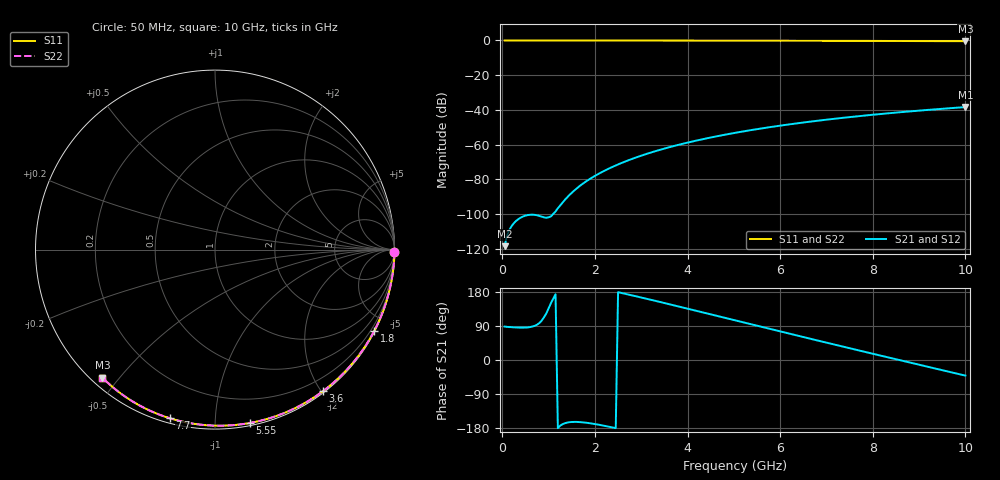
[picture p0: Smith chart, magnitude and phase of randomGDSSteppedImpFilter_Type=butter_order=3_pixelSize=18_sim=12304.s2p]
! freq	dB(S11)	phase(S11)	dB(S12)	phase(S12)
!  dB(S21)	phase(S21)	dB(S22)	phase(S22)
!S-par simulation data
#  GHz  S  DB  R 50
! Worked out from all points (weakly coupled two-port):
!   200 points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, 50 MHz to 10 GHz, reference 50 ohm
!   highest |S21| = -38.41 dB at 10 GHz (marker M1); lowest = -118.6 dB at 50 MHz (marker M2)
!   lowest |S11| = -0.4 dB at 10 GHz (marker M3), VSWR 39.03, Z = 1.54 - j22.6 ohm
!   |S11| at or under -10 dB: nowhere
!   |S22| runs from -0.4 to 0.0 dB; largest |S21 - S12| = 0
!   S11 on the Smith chart (normalised r, x): 50 MHz: open; 1.8 GHz: 0.04, -4.18; 3.6 GHz: 0.02, -2.02; 5.55 GHz: 0.02, -1.22; 7.7 GHz: 0.02, -0.77; 10 GHz: 0.03, -0.45
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0.05  -0.00 -0.8  -118.56 88.3  -118.56 88.3  -0.00 -0.8
0.9  -0.02 -13.6  -101.95 112.7  -101.95 112.7  -0.02 -13.6
1.75  -0.03 -26.2  -82.34 -164.6  -82.34 -164.6  -0.03 -26.2
1.8  -0.03 -26.9  -81.41 -165.3  -81.41 -165.3  -0.03 -26.9
1.85  -0.04 -27.6  -80.52 -166.1  -80.52 -166.1  -0.04 -27.6
1.9  -0.04 -28.4  -79.67 -167.0  -79.67 -167.0  -0.04 -28.4
2.05  -0.04 -30.6  -77.29 -170.0  -77.29 -170.0  -0.04 -30.6
2.25  -0.04 -33.5  -74.50 -174.7  -74.50 -174.7  -0.04 -33.5
2.45  -0.05 -36.4  -72.02 -179.8  -72.02 -179.8  -0.05 -36.4
2.65  -0.05 -39.2  -69.80 174.8  -69.80 174.8  -0.05 -39.2
3  -0.06 -44.2  -66.40 165.0  -66.40 165.0  -0.06 -44.2
3.4  -0.07 -49.8  -63.06 153.3  -63.06 153.3  -0.07 -49.8
3.6  -0.07 -52.6  -61.57 147.4  -61.57 147.4  -0.07 -52.6
4.3  -0.09 -62.2  -57.06 126.5  -57.06 126.5  -0.09 -62.2
5.05  -0.11 -72.1  -53.14 103.9  -53.14 103.9  -0.11 -72.1
5.55  -0.13 -78.6  -50.90 88.9  -50.90 88.9  -0.13 -78.6
6.1  -0.15 -85.6  -48.72 72.5  -48.72 72.5  -0.15 -85.6
6.7  -0.18 -93.0  -46.62 54.6  -46.62 54.6  -0.18 -93.0
7.7  -0.24 -105.0  -43.62 25.2  -43.62 25.2  -0.24 -105.0
8.35  -0.29 -112.6  -41.94 6.3  -41.94 6.3  -0.29 -112.6
9.15  -0.36 -121.7  -40.11 -16.8  -40.11 -16.8  -0.36 -121.7
10  -0.45 -131.3  -38.41 -41.2  -38.41 -41.2  -0.45 -131.3
